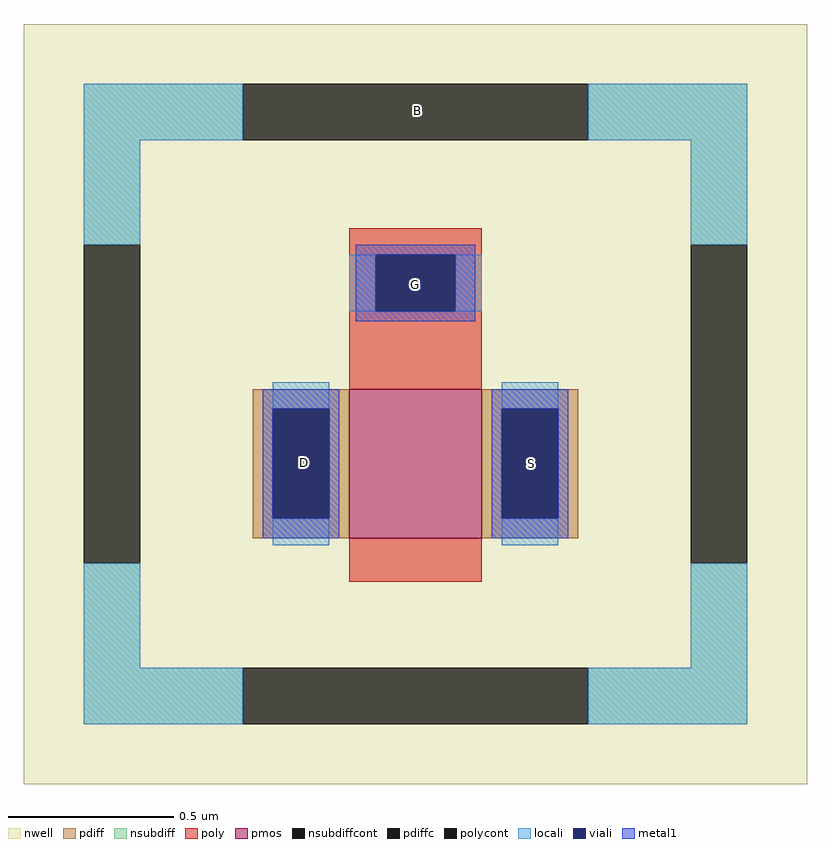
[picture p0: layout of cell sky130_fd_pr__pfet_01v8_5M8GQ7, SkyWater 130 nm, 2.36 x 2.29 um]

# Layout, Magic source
magic
tech sky130A
magscale 1 2
<< nwell >>
rect -236 -229 236 229
<< pmos >>
rect -40 -81 40 9
<< pdiff >>
rect -98 -3 -40 9
rect -98 -69 -86 -3
rect -52 -69 -40 -3
rect -98 -81 -40 -69
rect 40 -3 98 9
rect 40 -69 52 -3
rect 86 -69 98 -3
rect 40 -81 98 -69
<< pdiffc >>
rect -86 -69 -52 -3
rect 52 -69 86 -3
<< nsubdiff >>
rect -200 159 -104 193
rect 104 159 200 193
rect -200 96 -166 159
rect 166 96 200 159
rect -200 -159 -166 -96
rect 166 -159 200 -96
rect -200 -193 -104 -159
rect 104 -193 200 -159
<< nsubdiffcont >>
rect -104 159 104 193
rect -200 -96 -166 96
rect 166 -96 200 96
rect -104 -193 104 -159
<< poly >>
rect -40 90 40 106
rect -40 56 -24 90
rect 24 56 40 90
rect -40 9 40 56
rect -40 -107 40 -81
<< polycont >>
rect -24 56 24 90
<< locali >>
rect -200 159 -104 193
rect 104 159 200 193
rect -200 96 -166 159
rect 166 96 200 159
rect -40 56 -24 90
rect 24 56 40 90
rect -86 -3 -52 13
rect -86 -85 -52 -69
rect 52 -3 86 13
rect 52 -85 86 -69
rect -200 -159 -166 -96
rect 166 -159 200 -96
rect -200 -193 -104 -159
rect 104 -193 200 -159
<< viali >>
rect -24 56 24 90
rect -86 -69 -52 -3
rect 52 -69 86 -3
<< metal1 >>
rect -36 90 36 96
rect -36 56 -24 90
rect 24 56 36 90
rect -36 50 36 56
rect -92 -3 -46 9
rect -92 -69 -86 -3
rect -52 -69 -46 -3
rect -92 -81 -46 -69
rect 46 -3 92 9
rect 46 -69 52 -3
rect 86 -69 92 -3
rect 46 -81 92 -69
<< labels >>
flabel metal1 s 0 72 0 72 0 FreeSans 480 0 0 0 G
port 12 nsew
flabel metal1 s -67 -35 -67 -35 0 FreeSans 480 0 0 0 D
port 13 nsew
flabel metal1 s 70 -36 70 -36 0 FreeSans 480 0 0 0 S
port 14 nsew
flabel locali s 1 177 1 177 0 FreeSans 480 0 0 0 B
port 15 nsew
<< properties >>
string FIXED_BBOX -183 -176 183 176
string gencell sky130_fd_pr__pfet_01v8
string library sky130
string parameters w 0.45 l 0.4 m 1 nf 1 diffcov 100 polycov 100 guard 1 glc 1 grc 1 gtc 1 gbc 1 tbcov 100 rlcov 100 topc 1 botc 0 poverlap 0 doverlap 1 lmin 0.15 wmin 0.42 compatible {sky130_fd_pr__pfet_01v8  sky130_fd_pr__pfet_01v8_lvt sky130_fd_pr__pfet_01v8_hvt  sky130_fd_pr__pfet_g5v0d10v5} full_metal 1 viasrc 100 viadrn 100 viagate 100 viagb 0 viagr 0 viagl 0 viagt 0
<< end >>
